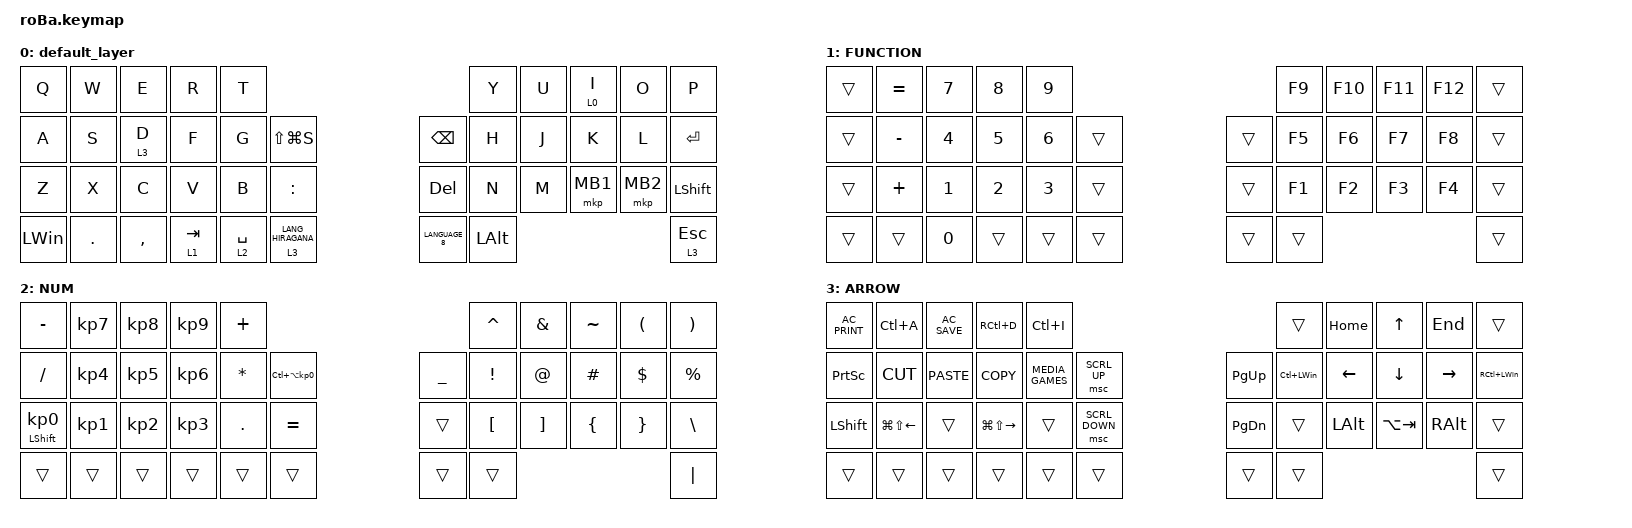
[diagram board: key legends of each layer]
#include <behaviors.dtsi>
#include <dt-bindings/zmk/keys.h>
#include <dt-bindings/zmk/pointing.h>
#include <dt-bindings/zmk/pointing.h>

#define MOUSE 4
#define SCROLL 5
#define NUM 6

&mt {
    flavor = "balanced";
    quick-tap-ms = <0>;
};

/ {
    combos {
        compatible = "zmk,combos";

        tab {
            bindings = <&kp TAB>;
            key-positions = <11 12>;
        };

        shift_tab {
            bindings = <&kp LS(TAB)>;
            key-positions = <12 13>;
        };

        muhennkann {
            bindings = <&to_layer_0 INT_MUHENKAN>;
            key-positions = <11 10>;
        };

        double_quotation {
            bindings = <&kp DOUBLE_QUOTES>;
            key-positions = <20 21>;
        };

        eq {
            bindings = <&kp EQUAL>;
            key-positions = <24 25>;
        };
    };

    macros {
        to_layer_0: to_layer_0 {
            compatible = "zmk,behavior-macro-one-param";
            #binding-cells = <1>;
            bindings = <&to 0 &macro_param_1to1 &kp MACRO_PLACEHOLDER>;
            label = "TO_LAYER_0";
        };
    };

    behaviors {
        lt_to_layer_0: lt_to_layer_0 {
            compatible = "zmk,behavior-hold-tap";
            label = "LAYER_TAP_TO_0";
            bindings = <&mo>, <&to_layer_0>;

            #binding-cells = <2>;
            tapping-term-ms = <200>;
        };
    };

    keymap {
        compatible = "zmk,keymap";

        default_layer {
            bindings = <
&kp Q         &kp W    &kp E               &kp R                 &kp T                                                                       &kp Y         &kp U  &lt 0 I   &kp O     &kp P
&kp A         &kp S    &lt_to_layer_0 3 D  &kp F                 &kp G                   &kp LS(LG(S))                       &kp BACKSPACE   &kp H         &kp J  &kp K     &kp L     &kp ENTER
&kp Z         &kp X    &kp C               &kp V                 &kp B                   &kp COLON                           &kp DELETE      &kp N         &kp M  &mkp MB1  &mkp MB2  &kp LEFT_SHIFT
&kp LEFT_WIN  &kp DOT  &kp COMMA           &lt_to_layer_0 1 TAB  &lt_to_layer_0 2 SPACE  &lt_to_layer_0 3 LANG_HIRAGANA      &kp LANGUAGE_8  &kp LEFT_ALT                             &lt_to_layer_0 3 ESCAPE
            >;
        };

        FUNCTION {
            bindings = <
&trans  &kp EQUAL  &kp NUMBER_7  &kp NUMBER_8  &kp NUMBER_9                      &kp F9  &kp F10  &kp F11  &kp F12  &trans
&trans  &kp MINUS  &kp NUMBER_4  &kp N5        &kp NUMBER_6  &trans      &trans  &kp F5  &kp F6   &kp F7   &kp F8   &trans
&trans  &kp PLUS   &kp NUMBER_1  &kp NUMBER_2  &kp NUMBER_3  &trans      &trans  &kp F1  &kp F2   &kp F3   &kp F4   &trans
&trans  &trans     &kp NUMBER_0  &trans        &trans        &trans      &trans  &trans                             &trans
            >;
        };

        NUM {
            bindings = <
&kp MINUS                   &kp KP_NUMBER_7  &kp KP_NUMBER_8  &kp KP_NUMBER_9  &kp PLUS                                                   &kp CARET         &kp AMPERSAND      &kp TILDE       &kp LEFT_PARENTHESIS  &kp RIGHT_PARENTHESIS
&kp SLASH                   &kp KP_NUMBER_4  &kp KP_NUMBER_5  &kp KP_NUMBER_6  &kp ASTERISK  &kp LC(LA(KP_NUMBER_0))      &kp UNDERSCORE  &kp EXCLAMATION   &kp AT_SIGN        &kp HASH        &kp DOLLAR            &kp PERCENT
&mt LEFT_SHIFT KP_NUMBER_0  &kp KP_NUMBER_1  &kp KP_NUMBER_2  &kp KP_NUMBER_3  &kp PERIOD    &kp EQUAL                    &trans          &kp LEFT_BRACKET  &kp RIGHT_BRACKET  &kp LEFT_BRACE  &kp RIGHT_BRACE       &kp BACKSLASH
&trans                      &trans           &trans           &trans           &trans        &trans                       &trans          &trans                                                                     &kp PIPE
            >;
        };

        ARROW {
            bindings = <
&kp C_AC_PRINT   &kp LC(A)               &kp C_AC_SAVE  &kp RC(D)                &kp LC(I)                                             &trans            &kp HOME        &kp UP       &kp END        &trans
&kp PRINTSCREEN  &kp K_CUT               &kp K_PASTE    &kp K_COPY               &kp C_MEDIA_GAMES  &msc SCRL_UP        &kp PAGE_UP    &kp LC(LEFT_WIN)  &kp LEFT_ARROW  &kp DOWN     &kp RIGHT      &kp RC(LEFT_WIN)
&kp LEFT_SHIFT   &kp LG(LS(LEFT_ARROW))  &trans         &kp LG(LS(RIGHT_ARROW))  &trans             &msc SCRL_DOWN      &kp PAGE_DOWN  &trans            &kp LEFT_ALT    &kp LA(TAB)  &kp RIGHT_ALT  &trans
&trans           &trans                  &trans         &trans                   &trans             &trans              &trans         &trans                                                        &trans
            >;
        };
    };
};
